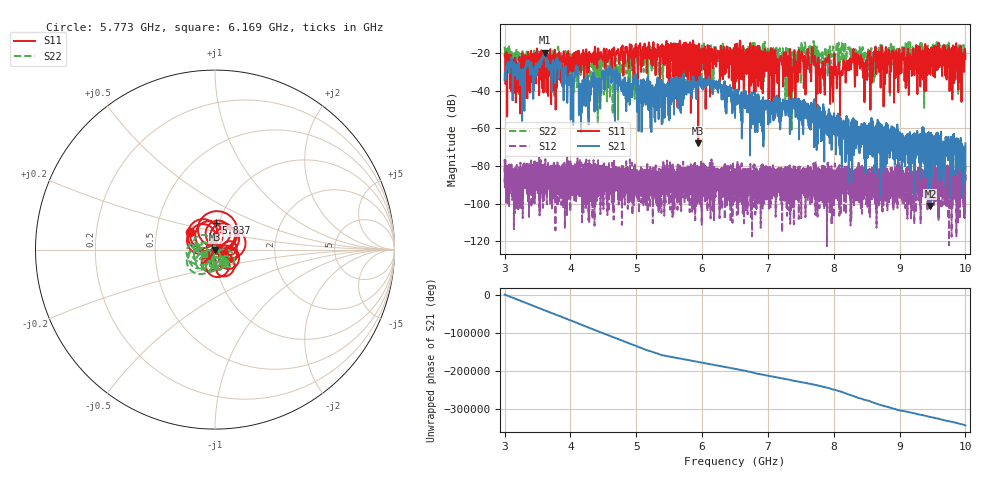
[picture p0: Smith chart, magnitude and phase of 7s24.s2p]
!Agilent Technologies,E8363B,MY43030572,A.06.04.32
!Agilent E8363B: A.06.04.32
!Date: Tuesday, June 07, 2011 08:45:11
!Correction: S11(Full 2 Port(1,2)) S21(Full 2 Port(1,2)) S12(Full 2 Port(1,2)) S22(Full 2 Port(1,2))
!S2P File: Measurements: S11, S21, S12, S22:
# Hz S  dB  R 50
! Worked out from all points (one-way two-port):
!   6401 points, 3 GHz to 10 GHz, reference 50 ohm
!   highest |S21| = -19.80 dB at 3.609 GHz (marker M1); lowest = -101.2 dB at 9.47 GHz (marker M2)
!   lowest |S11| = -68.0 dB at 5.941 GHz (marker M3), VSWR 1.00, Z = 50 - j0.0203 ohm
!   |S11| at or under -10 dB: start of sweep to end of sweep
!   |S22| runs from -61.1 to -13.7 dB; largest |S21 - S12| = 0.1
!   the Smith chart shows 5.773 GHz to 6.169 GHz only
!   S11 on the Smith chart (normalised r, x): 5.773 GHz: 0.74, +0.15; 5.837 GHz: 0.96, +0.29; 6.169 GHz: 0.91, -0.05
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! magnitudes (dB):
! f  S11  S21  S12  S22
! 3 GHz  -21.5  -34.5  -88.7  -16.6
! 3.079 GHz  -27.9  -26.1  -92.1  -20.7
! 3.462 GHz  -24.3  -30.7  -79.9  -26.0
! 3.609 GHz  -23.6  -19.8  -94.6  -20.1
! 3.976 GHz  -24.1  -35.1  -80.5  -23.3
! 4.089 GHz  -26.9  -30.2  -87.3  -29.5
! 4.167 GHz  -21.4  -51.8  -88.3  -25.0
! 4.575 GHz  -22.0  -34.9  -94.7  -28.6
! 4.842 GHz  -17.6  -40.7  -88.6  -28.1
! 5.334 GHz  -19.4  -34.5  -100.4  -26.6
! 5.773 GHz  -15.4  -39.1  -82.7  -21.5
! 5.837 GHz  -16.5  -36.6  -91.9  -26.9
! 5.941 GHz  -68.0  -34.8  -84.3  -28.7
! 6.169 GHz  -24.8  -39.2  -85.0  -23.6
! 6.5 GHz  -18.6  -54.4  -91.4  -22.8
! 7.667 GHz  -19.3  -53.8  -87.7  -17.2
! 7.829 GHz  -24.6  -55.2  -85.0  -18.5
! 7.904 GHz  -23.6  -54.7  -82.2  -28.0
! 7.967 GHz  -27.7  -61.5  -95.9  -20.7
! 8.834 GHz  -19.0  -69.8  -86.5  -21.2
! 9.47 GHz  -31.5  -101.2  -90.5  -22.3
! 10 GHz  -23.1  -68.0  -87.7  -21.2
